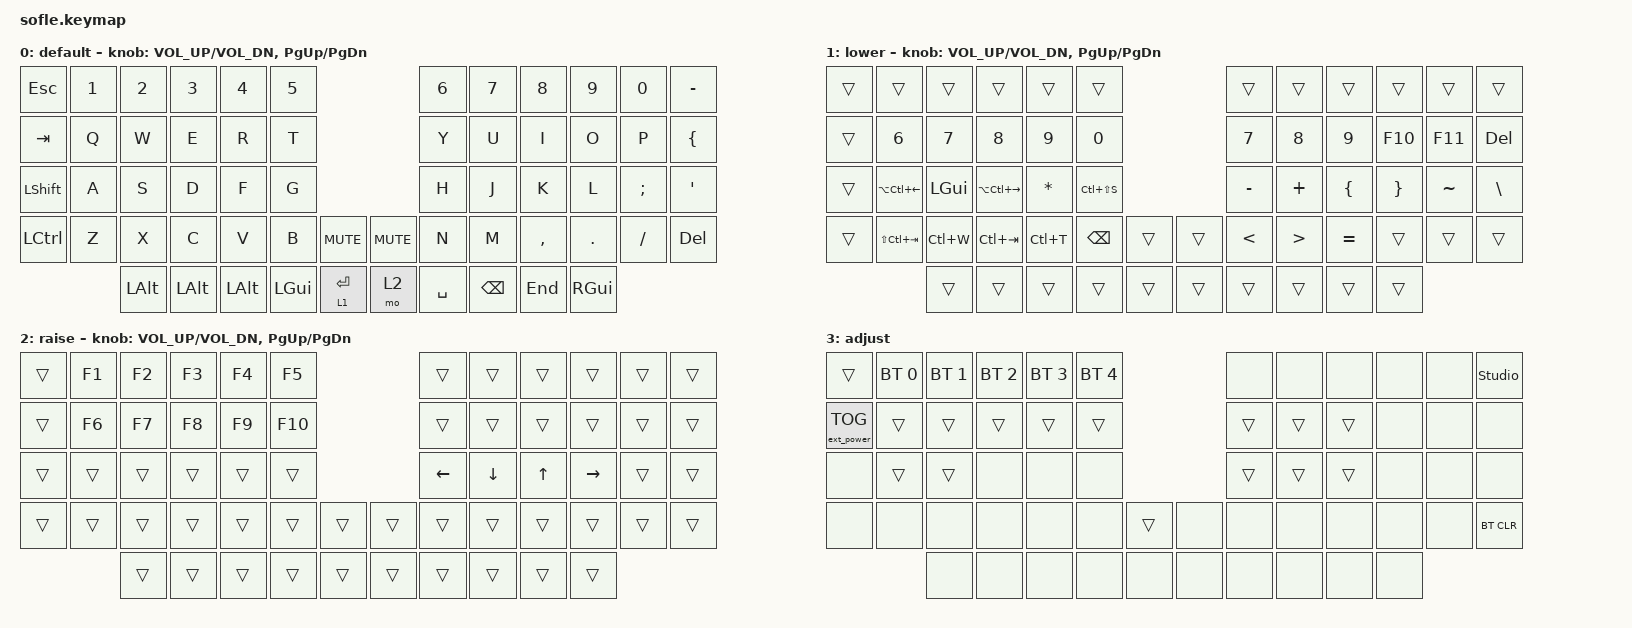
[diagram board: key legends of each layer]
#include <behaviors.dtsi>
#include <dt-bindings/zmk/bt.h>
#include <dt-bindings/zmk/ext_power.h>
#include <dt-bindings/zmk/keys.h>

/ {
    keymap {
        compatible = "zmk,keymap";

        default_layer {
            display-name = "default";
            bindings = <
&kp ESC    &kp N1  &kp N2    &kp N3    &kp N4    &kp N5                                   &kp N6     &kp N7         &kp N8     &kp N9    &kp N0    &kp MINUS
&kp TAB    &kp Q   &kp W     &kp E     &kp R     &kp T                                    &kp Y      &kp U          &kp I      &kp O     &kp P     &kp LEFT_BRACE
&kp LSHFT  &kp A   &kp S     &kp D     &kp F     &kp G                                    &kp H      &kp J          &kp K      &kp L     &kp SEMI  &kp SINGLE_QUOTE
&kp LCTRL  &kp Z   &kp X     &kp C     &kp V     &kp B         &kp C_MUTE     &kp C_MUTE  &kp N      &kp M          &kp COMMA  &kp DOT   &kp FSLH  &kp DELETE
                   &kp LALT  &kp LALT  &kp LALT  &kp LEFT_GUI  &lt 1 ENTER    &mo 2       &kp SPACE  &kp BACKSPACE  &kp END    &kp RGUI
            >;

            sensor-bindings = <&inc_dec_kp C_VOL_UP C_VOL_DN &inc_dec_kp PG_UP PG_DN>;
        };

        lower_layer {
            display-name = "lower";
            bindings = <
&trans  &trans            &trans        &trans             &trans     &trans                           &trans         &trans            &trans          &trans           &trans     &trans
&trans  &kp NUMBER_6      &kp N7        &kp N8             &kp N9     &kp NUMBER_0                     &kp NUMBER_7   &kp N8            &kp N9          &kp F10          &kp F11    &kp DELETE
&trans  &kp LA(LC(LEFT))  &kp LEFT_GUI  &kp LA(LC(RIGHT))  &kp ASTRK  &kp LC(LS(S))                    &kp MINUS      &kp PLUS          &kp LEFT_BRACE  &kp RIGHT_BRACE  &kp TILDE  &kp BACKSLASH
&trans  &kp LS(LC(TAB))   &kp LC(W)     &kp LC(TAB)        &kp LC(T)  &kp BACKSPACE  &trans    &trans  &kp LESS_THAN  &kp GREATER_THAN  &kp EQUAL       &trans           &trans     &trans
                          &trans        &trans             &trans     &trans         &trans    &trans  &trans         &trans            &trans          &trans
            >;

            sensor-bindings = <&inc_dec_kp C_VOL_UP C_VOL_DN &inc_dec_kp PG_UP PG_DN>;
        };

        raise_layer {
            display-name = "raise";
            bindings = <
&trans  &kp F1  &kp F2  &kp F3  &kp F4  &kp F5                     &trans          &trans    &trans        &trans     &trans  &trans
&trans  &kp F6  &kp F7  &kp F8  &kp F9  &kp F10                    &trans          &trans    &trans        &trans     &trans  &trans
&trans  &trans  &trans  &trans  &trans  &trans                     &kp LEFT_ARROW  &kp DOWN  &kp UP_ARROW  &kp RIGHT  &trans  &trans
&trans  &trans  &trans  &trans  &trans  &trans   &trans    &trans  &trans          &trans    &trans        &trans     &trans  &trans
                &trans  &trans  &trans  &trans   &trans    &trans  &trans          &trans    &trans        &trans
            >;

            sensor-bindings = <&inc_dec_kp C_VOL_UP C_VOL_DN &inc_dec_kp PG_UP PG_DN>;
        };

        adjust_layer {
            display-name = "adjust";
            bindings = <
&trans             &bt BT_SEL 0  &bt BT_SEL 1  &bt BT_SEL 2  &bt BT_SEL 3  &bt BT_SEL 4                   &none   &none   &none   &none  &none  &studio_unlock
&ext_power EP_TOG  &trans        &trans        &trans        &trans        &trans                         &trans  &trans  &trans  &none  &none  &none
&none              &trans        &trans        &none         &none         &none                          &trans  &trans  &trans  &none  &none  &none
&none              &none         &none         &none         &none         &none         &trans    &none  &none   &none   &none   &none  &none  &bt BT_CLR
                                 &none         &none         &none         &none         &none     &none  &none   &none   &none   &none
            >;
        };
    };

    conditional_layers {
        compatible = "zmk,conditional-layers";

        a3rdLayer {
            if-layers = <1 2>;
            then-layer = <3>;
        };
    };
};
